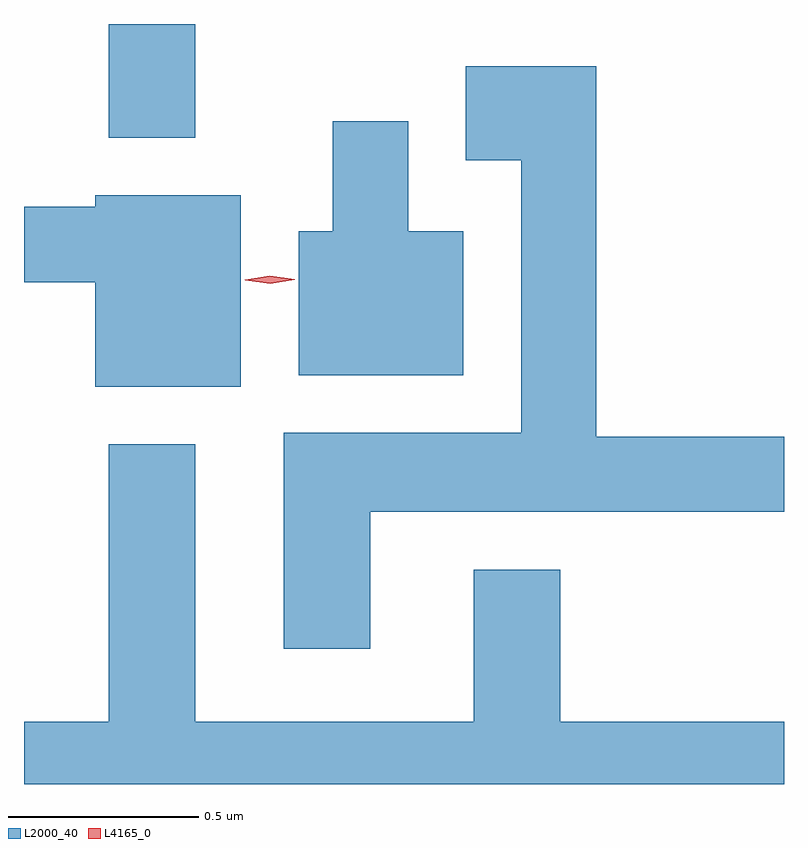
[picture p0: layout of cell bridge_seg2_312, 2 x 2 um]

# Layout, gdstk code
import gdstk
lib = gdstk.Library(unit=1e-6, precision=1e-09)
def R(c, l, rs):  # rectangles x0, y0, x1, y1
    for r in rs: c.add(gdstk.rectangle(r[:2], r[2:], *l))
def P(c, l, *ps):  # polygons
    for p in ps: c.add(gdstk.Polygon(p, *l))
L2000_40 = (2000, 40)
L4165_0 = (4165, 0)

bridge_seg2_312 = lib.new_cell('bridge_seg2_312')
R(bridge_seg2_312, L2000_40, [(453.971,1067.881,454.199,1068.18)])
P(bridge_seg2_312, L2000_40, [(454.659,1066.896),(455.748,1066.896),(455.748,1067.094),(455.254,1067.094),(455.254,1068.069),(454.911,1068.069),(454.911,1067.821),(455.056,1067.821),(455.056,1067.104),(454.431,1067.104),(454.431,1066.536),(454.659,1066.536)],
  [(454.904,1067.634),(454.759,1067.634),(454.759,1067.924),(454.561,1067.924),(454.561,1067.634),(454.471,1067.634),(454.471,1067.256),(454.904,1067.256)],
  [(454.319,1067.729),(453.936,1067.729),(453.936,1067.699),(453.748,1067.699),(453.748,1067.501),(453.936,1067.501),(453.936,1067.226),(454.319,1067.226)],
  [(455.748,1066.344),(455.159,1066.344),(455.159,1066.744),(454.931,1066.744),(454.931,1066.344),(454.199,1066.344),(454.199,1067.074),(453.971,1067.074),(453.971,1066.344),(453.748,1066.344),(453.748,1066.18),(455.748,1066.18)])
P(bridge_seg2_312, L4165_0, [(454.396,1067.497),(454.33,1067.506),(454.329,1067.507),(454.33,1067.507),(454.395,1067.517),(454.461,1067.508),(454.461,1067.507),(454.461,1067.507)])

lib.write_gds('bridge_seg2_312.gds')
